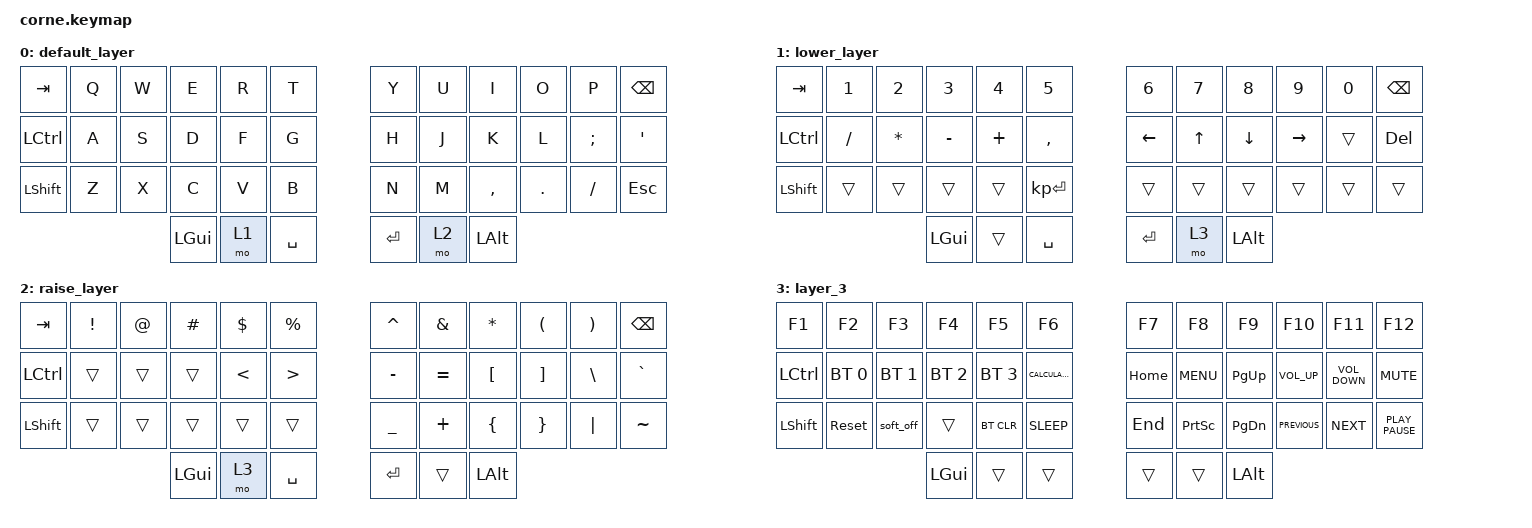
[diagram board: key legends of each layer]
/*
 * Copyright (c) 2020 The ZMK Contributors
 *
 * SPDX-License-Identifier: MIT
 */

#include <behaviors.dtsi>
#include <dt-bindings/zmk/bt.h>
#include <dt-bindings/zmk/keys.h>

/ {
    keymap {
        compatible = "zmk,keymap";

        default_layer {
            // -----------------------------------------------------------------------------------------
            // |  TAB |  Q  |  W  |  E  |  R  |  T  |   |  Y  |  U   |  I  |  O  |  P  | BKSP |
            // | CTRL |  A  |  S  |  D  |  F  |  G  |   |  H  |  J   |  K  |  L  |  ;  |  '   |
            // | SHFT |  Z  |  X  |  C  |  V  |  B  |   |  N  |  M   |  ,  |  .  |  /  | ESC  |
            //                    | GUI | LWR | SPC |   | ENT | RSE  | ALT |

            bindings = <
&kp TAB    &kp Q  &kp W  &kp E     &kp R  &kp T        &kp Y    &kp U  &kp I         &kp O    &kp P     &kp BSPC
&kp LCTRL  &kp A  &kp S  &kp D     &kp F  &kp G        &kp H    &kp J  &kp K         &kp L    &kp SEMI  &kp SQT
&kp LSHFT  &kp Z  &kp X  &kp C     &kp V  &kp B        &kp N    &kp M  &kp COMMA     &kp DOT  &kp FSLH  &kp ESC
                         &kp LGUI  &mo 1  &kp SPACE    &kp RET  &mo 2  &kp LEFT_ALT
            >;
        };

        lower_layer {
            // -----------------------------------------------------------------------------------------
            // |  TAB |  1  |  2  |  3  |  4  |  5  |   |  6  |  7  |  8  |  9  |  0  | BKSP |
            // | BTCLR| BT1 | BT2 | BT3 | BT4 | BT5 |   | LFT | DWN |  UP | RGT |     |      |
            // | SHFT |     |     |     |     |     |   |     |     |     |     |     |      |
            //                    | GUI |     | SPC |   | ENT |     | ALT |

            bindings = <
&kp TAB    &kp N1     &kp N2        &kp N3     &kp N4    &kp N5          &kp N6    &kp N7        &kp N8          &kp N9     &kp N0  &kp BSPC
&kp LCTRL  &kp SLASH  &kp ASTERISK  &kp MINUS  &kp PLUS  &kp COMMA       &kp LEFT  &kp UP_ARROW  &kp DOWN_ARROW  &kp RIGHT  &trans  &kp DELETE
&kp LSHFT  &trans     &trans        &trans     &trans    &kp KP_ENTER    &trans    &trans        &trans          &trans     &trans  &trans
                                    &kp LGUI   &trans    &kp SPACE       &kp RET   &mo 3         &kp LEFT_ALT
            >;
        };

        raise_layer {
            // -----------------------------------------------------------------------------------------
            // |  TAB |  !  |  @  |  #  |  $  |  %  |   |  ^  |  &  |  *  |  (  |  )  | BKSP |
            // | CTRL |     |     |     |     |     |   |  -  |  =  |  [  |  ]  |  \  |  `   |
            // | SHFT |     |     |     |     |     |   |  _  |  +  |  {  |  }  | "|" |  ~   |
            //                    | GUI |     | SPC |   | ENT |     | ALT |

            bindings = <
&kp TAB    &kp EXCL  &kp AT  &kp HASH  &kp DLLR       &kp PRCNT           &kp CARET  &kp AMPS   &kp ASTRK     &kp LPAR  &kp RPAR  &kp BSPC
&kp LCTRL  &trans    &trans  &trans    &kp LESS_THAN  &kp GREATER_THAN    &kp MINUS  &kp EQUAL  &kp LBKT      &kp RBKT  &kp BSLH  &kp GRAVE
&kp LSHFT  &trans    &trans  &trans    &trans         &trans              &kp UNDER  &kp PLUS   &kp LBRC      &kp RBRC  &kp PIPE  &kp TILDE
                             &kp LGUI  &mo 3          &kp SPACE           &kp RET    &trans     &kp LEFT_ALT
            >;
        };

        layer_3 {
            bindings = <
&kp F1          &kp F2        &kp F3        &kp F4        &kp F5        &kp F6              &kp F7    &kp F8           &kp F9        &kp F10          &kp F11            &kp F12
&kp LCTRL       &bt BT_SEL 0  &bt BT_SEL 1  &bt BT_SEL 2  &bt BT_SEL 3  &kp K_CALCULATOR    &kp HOME  &kp K_MENU       &kp PG_UP     &kp C_VOLUME_UP  &kp C_VOLUME_DOWN  &kp K_MUTE
&kp LEFT_SHIFT  &sys_reset    &soft_off     &trans        &bt BT_CLR    &kp K_SLEEP         &kp END   &kp PRINTSCREEN  &kp PG_DN     &kp K_PREVIOUS   &kp K_NEXT         &kp K_PLAY_PAUSE
                                            &kp LEFT_GUI  &trans        &trans              &trans    &trans           &kp LEFT_ALT
            >;
        };
    };
};
